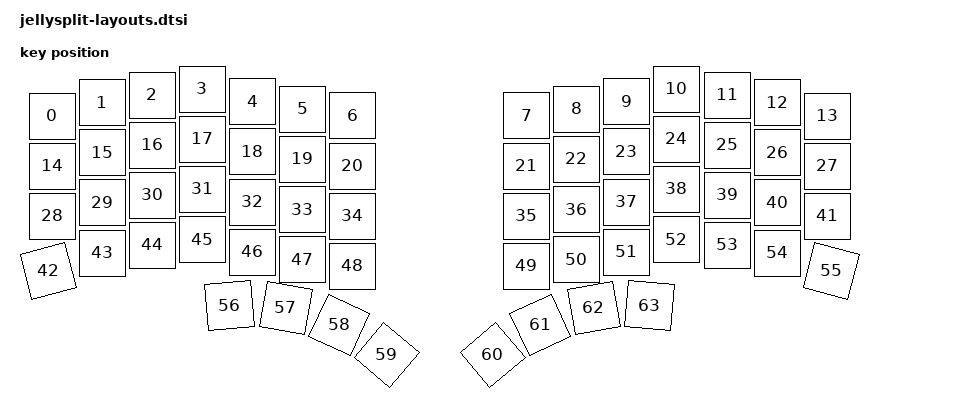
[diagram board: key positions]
#include <physical_layouts.dtsi>

/ {
    jellysplit_physical_layout: jellysplit_physical_layout {
        compatible = "zmk,physical-layout";
        display-name = "JellySplit";

        kscan = <&kscan0>;
        transform = <&default_transform>;

        keys  //                     w   h    x    y     rot    rx    ry
            = <&key_physical_attrs 100 100    8   54       0     0     0>
            , <&key_physical_attrs 100 100  108   27       0     0     0>
            , <&key_physical_attrs 100 100  208   12       0     0     0>
            , <&key_physical_attrs 100 100  308    0       0     0     0>
            , <&key_physical_attrs 100 100  409   25       0     0     0>
            , <&key_physical_attrs 100 100  509   40       0     0     0>
            , <&key_physical_attrs 100 100  609   53       0     0     0>
            , <&key_physical_attrs 100 100  957   53       0     0     0>
            , <&key_physical_attrs 100 100 1057   40       0     0     0>
            , <&key_physical_attrs 100 100 1157   25       0     0     0>
            , <&key_physical_attrs 100 100 1257    0       0     0     0>
            , <&key_physical_attrs 100 100 1358   12       0     0     0>
            , <&key_physical_attrs 100 100 1458   27       0     0     0>
            , <&key_physical_attrs 100 100 1558   54       0     0     0>
            , <&key_physical_attrs 100 100    8  154       0     0     0>
            , <&key_physical_attrs 100 100  108  127       0     0     0>
            , <&key_physical_attrs 100 100  208  112       0     0     0>
            , <&key_physical_attrs 100 100  308  100       0     0     0>
            , <&key_physical_attrs 100 100  409  125       0     0     0>
            , <&key_physical_attrs 100 100  509  140       0     0     0>
            , <&key_physical_attrs 100 100  609  154       0     0     0>
            , <&key_physical_attrs 100 100  957  154       0     0     0>
            , <&key_physical_attrs 100 100 1057  140       0     0     0>
            , <&key_physical_attrs 100 100 1157  125       0     0     0>
            , <&key_physical_attrs 100 100 1257  100       0     0     0>
            , <&key_physical_attrs 100 100 1358  112       0     0     0>
            , <&key_physical_attrs 100 100 1458  127       0     0     0>
            , <&key_physical_attrs 100 100 1558  154       0     0     0>
            , <&key_physical_attrs 100 100    8  254       0     0     0>
            , <&key_physical_attrs 100 100  108  227       0     0     0>
            , <&key_physical_attrs 100 100  208  212       0     0     0>
            , <&key_physical_attrs 100 100  308  200       0     0     0>
            , <&key_physical_attrs 100 100  409  226       0     0     0>
            , <&key_physical_attrs 100 100  509  241       0     0     0>
            , <&key_physical_attrs 100 100  609  254       0     0     0>
            , <&key_physical_attrs 100 100  957  254       0     0     0>
            , <&key_physical_attrs 100 100 1057  241       0     0     0>
            , <&key_physical_attrs 100 100 1157  226       0     0     0>
            , <&key_physical_attrs 100 100 1257  200       0     0     0>
            , <&key_physical_attrs 100 100 1358  212       0     0     0>
            , <&key_physical_attrs 100 100 1458  227       0     0     0>
            , <&key_physical_attrs 100 100 1558  254       0     0     0>
            , <&key_physical_attrs 100 100    0  364 (-1500)    50   414>
            , <&key_physical_attrs 100 100  108  328       0     0     0>
            , <&key_physical_attrs 100 100  208  312       0     0     0>
            , <&key_physical_attrs 100 100  308  301       0     0     0>
            , <&key_physical_attrs 100 100  409  326       0     0     0>
            , <&key_physical_attrs 100 100  509  341       0     0     0>
            , <&key_physical_attrs 100 100  609  354       0     0     0>
            , <&key_physical_attrs 100 100  957  354       0     0     0>
            , <&key_physical_attrs 100 100 1057  341       0     0     0>
            , <&key_physical_attrs 100 100 1157  326       0     0     0>
            , <&key_physical_attrs 100 100 1257  301       0     0     0>
            , <&key_physical_attrs 100 100 1358  312       0     0     0>
            , <&key_physical_attrs 100 100 1458  328       0     0     0>
            , <&key_physical_attrs 100 100 1566  364    1500  1616   414>
            , <&key_physical_attrs 100 100  363  433  (-500)   413   483>
            , <&key_physical_attrs 100 100  475  438    1000   525   488>
            , <&key_physical_attrs 100 100  582  472    2500   632   522>
            , <&key_physical_attrs 100 100  677  532    4000   727   582>
            , <&key_physical_attrs 100 100  889  532 (-4000)   939   582>
            , <&key_physical_attrs 100 100  984  472 (-2500)  1034   522>
            , <&key_physical_attrs 100 100 1091  438 (-1000)  1141   488>
            , <&key_physical_attrs 100 100 1203  433     500  1253   483>
            ;
    };
};


&layouts_jellysplit_position_map {
    jellysplit_posmap: seven_column {
        physical-layout = <&jellysplit_physical_layout>;
        positions
            = <0    1   2   3   4   5   6   7   8   9   10  11  12  13>
            , <14   15  16  17  18  19  21  22  23  24  25  26  27  28>
            , <29   30  31  32  33  34  35  36  37  38  39  40  41  42>
            , <43   44  45  46  47  48  49  50  51  52  53  54  55  56>
            , <             57  58  59  60  61  62  63  64            >;
    };
};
